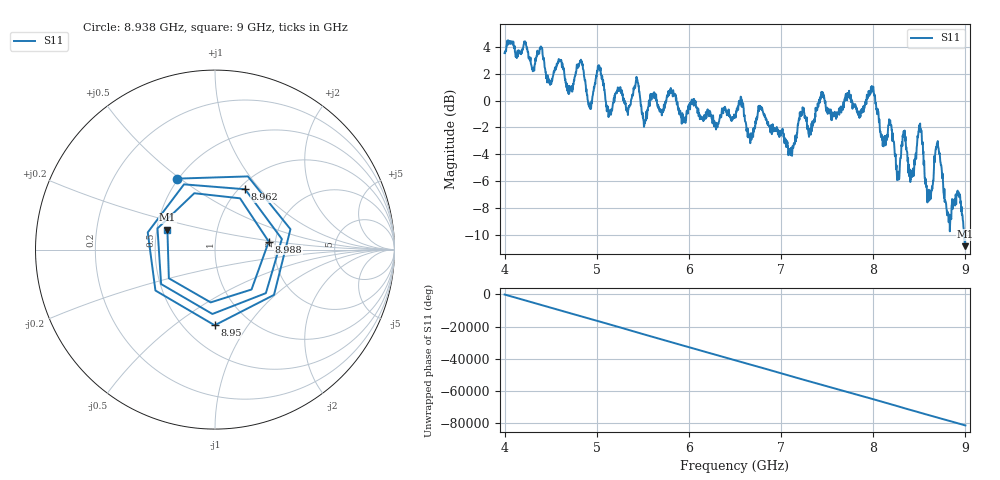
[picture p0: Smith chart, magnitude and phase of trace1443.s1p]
! Created with skrf 1.8.0 (http://scikit-rf.org).
# Hz S RI R 50.0
!freq ReS11 ImS11
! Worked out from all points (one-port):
!   1601 points, 4 GHz to 9 GHz, reference 50 ohm
!   lowest |S11| = -10.8 dB at 9 GHz (marker M1), VSWR 1.81, Z = 28.4 + j6.83 ohm
!   |S11| at or under -10 dB: 8.984452 GHz to end of sweep
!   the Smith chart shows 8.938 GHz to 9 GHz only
!   S11 on the Smith chart (normalised r, x): 8.938 GHz: 0.49, +0.49; 8.95 GHz: 0.70, -0.71; 8.962 GHz: 1.07, +0.83; 8.988 GHz: 1.84, +0.18; 9 GHz: 0.57, +0.14
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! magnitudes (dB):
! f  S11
! 4 GHz  3.5
! 4.625 GHz  2.7
! 4.709 GHz  1.0
! 4.834 GHz  2.8
! 4.925 GHz  -0.6
! 5.019 GHz  2.3
! 5.131 GHz  -1.0
! 5.25 GHz  1.0
! 5.519 GHz  -1.6
! 5.875 GHz  -0.1
! 6.5 GHz  -1.1
! 7.125 GHz  -3.4
! 7.228 GHz  -1.1
! 7.75 GHz  0.2
! 7.994 GHz  0.8
! 8.262 GHz  -5.5
! 8.328 GHz  -2.5
! 8.375 GHz  -4.5
! 8.425 GHz  -5.3
! 8.503 GHz  -2.0
! 8.6 GHz  -7.5
! 8.697 GHz  -3.3
! 8.822 GHz  -8.5
! 8.938 GHz  -7.0
! 8.95 GHz  -7.5
! 8.962 GHz  -8.5
! 8.988 GHz  -10.4
! 9 GHz  -10.8
